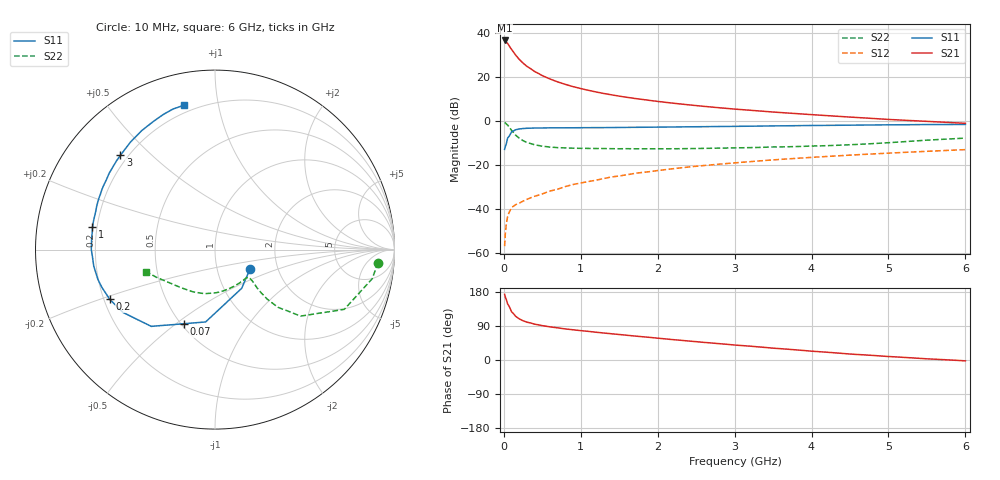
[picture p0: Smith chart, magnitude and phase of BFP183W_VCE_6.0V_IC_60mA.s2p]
! Infineon Technologies  Discrete & RF Semiconductors
! BFP183W
! VCE =  6.0 V,  IC =  60 mA
! Common Emitter S-Parameters:  Jan 2017
# GHz  S  MA  R  50
!  f  S11  S21  S12  S22
! GHz  MAG  ANG  MAG  ANG  MAG  ANG  MAG  ANG
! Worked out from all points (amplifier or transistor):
!   77 points, 10 MHz to 6 GHz, reference 50 ohm
!   highest |S21| = 36.5 dB at 10 MHz (marker M1)
!   |S21| within 3 dB of that: start of sweep to 79.46 MHz
!   unconditionally stable (mu >= 1): 485.4 MHz to 3.452 GHz
!   at 130 MHz: K = 0.47, MSG = 34.9 dB, |S12| = -38.8 dB
!   at 2.2 GHz: K = 1.10, MAG = 12.9 dB, |S12| = -21.8 dB
!   at 6 GHz: K = 0.85, MSG = 6.0 dB, |S12| = -13.2 dB
!   S11 on the Smith chart (normalised r, x): 10 MHz: 1.44, -0.33; 70 MHz: 0.52, -0.53; 200 MHz: 0.22, -0.21; 1 GHz: 0.18, +0.09; 3 GHz: 0.17, +0.40; 6 GHz: 0.16, +0.79
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0.01  0.2231 -29.0  66.93 173.3  0.0014 83.7  0.9109 -4.6
0.02  0.2619 -55.4  65.36 165.9  0.0028 85.6  0.8908 -10.5
0.05  0.4065 -97.4  57.03 147.7  0.0068 65.8  0.7934 -24.8
0.07  0.4479 -112.8  50.29 141.0  0.0083 61.2  0.7137 -29.2
0.1  0.556 -129.7  41.94 127.3  0.0105 56.7  0.6045 -37.8
0.15  0.6209 -145.7  31.61 115.9  0.0122 50.3  0.4756 -42.5
0.2  0.6486 -154.7  24.89 108.6  0.0133 49.9  0.4004 -43.5
0.25  0.6639 -161.3  20.43 103.5  0.0148 49.5  0.3524 -43.1
0.3  0.6731 -165.6  17.24 99.9  0.0163 52.4  0.32 -42.4
0.4  0.6818 -172.2  13.18 94.5  0.0191 56.6  0.2832 -40.6
0.5  0.6838 -176.5  10.61 90.7  0.0216 59.6  0.2637 -39.8
0.6  0.6891 180.0  8.893 87.5  0.0251 61.7  0.2514 -39.4
0.7  0.6892 177.1  7.637 84.8  0.0277 64.4  0.2443 -39.4
1  0.6937 169.7  5.39 77.5  0.0384 67.6  0.2351 -42.6
1.1  0.6951 167.5  4.908 75.5  0.0413 68.2  0.2344 -43.9
1.5  0.7021 159.8  3.622 67.3  0.0554 68.7  0.2302 -51.1
2.1  0.7171 149.0  2.624 55.7  0.0772 67.5  0.23 -65.2
3  0.7441 135.1  1.839 39.5  0.1098 62.8  0.2414 -90.1
3.1  0.7468 133.7  1.784 38.0  0.1135 62.2  0.2425 -92.9
4.1  0.7809 120.3  1.34 21.9  0.1502 55.5  0.2675 -120.3
5.1  0.8082 110.0  1.048 8.1  0.1865 48.4  0.3244 -146.9
6  0.8226 102.2  0.873 -2.3  0.22 41.4  0.4023 -162.1
